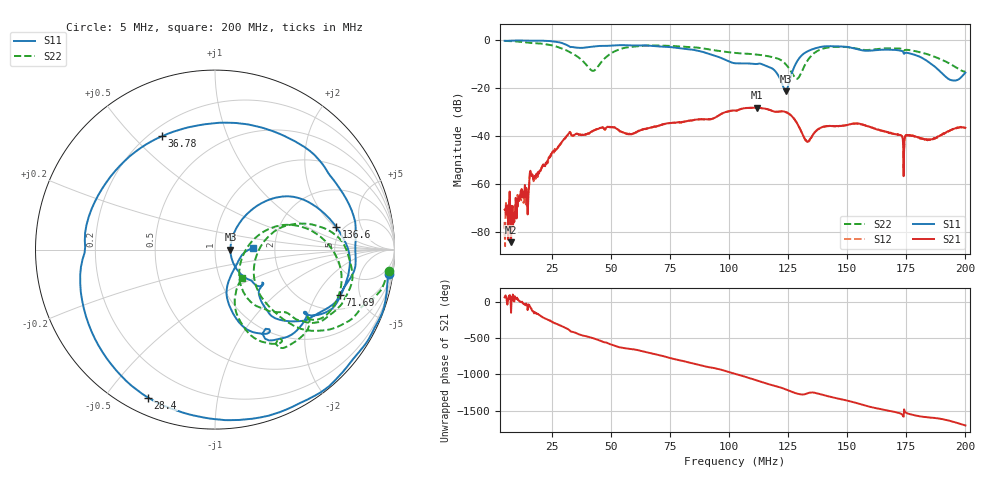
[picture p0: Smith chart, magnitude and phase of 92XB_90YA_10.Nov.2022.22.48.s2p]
!Keysight Technologies N9917A: A.12.46
!Date: Thursday, 10 November 2022 22:49:01
!Timezone: (UTC) Coordinated Universal Time
!Model: N9917A
!Serial: MY56071016
!GPS Latitude:
!GPS Longitude:
!GPS TimeStamp: 0001-01-01 00:00:00Z
!GPS Seconds Since Last Read: 0
!CHECKSUM:1294326159
!Correction: S11(ON U)S21(ON U)S12(ON U)S22(ON U)
!S2P File: Measurements:S11,S21,S12,S22:
# Hz S DB R 50
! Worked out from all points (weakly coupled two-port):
!   1001 points, 5 MHz to 200 MHz, reference 50 ohm
!   highest |S21| = -28.09 dB at 111.7 MHz (marker M1); lowest = -84.2 dB at 7.73 MHz (marker M2)
!   lowest |S11| = -21.3 dB at 124 MHz (marker M3), VSWR 1.19, Z = 59.4 + j0.0141 ohm
!   |S11| at or under -10 dB: 114 MHz to 128.1 MHz (14.06 MHz wide, 11.6 % of centre); 185.8 MHz to end of sweep
!   |S22| runs from -16.1 to -0.2 dB; largest |S21 - S12| = 0.0008
!   S11 on the Smith chart (normalised r, x): 5 MHz: 2, -14; 28.4 MHz: 0.07, -0.64; 36.78 MHz: 0.25, +0.61; 71.69 MHz: 2.88, -3.22; 136.6 MHz: 4.37, +2.08; 200 MHz: 1.54, +0.03
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5000000  -0.18 -8.0  -70.66 63.3  -75.78 -136.5  -0.21 -6.9
7730000  -0.12 -14.5  -84.23 -150.9  -71.25 72.6  -0.33 -10.7
2.021e7  -0.08 -52.7  -54.53 165.3  -54.22 167.9  -1.33 -26.3
2.84e7  -0.87 -114.4  -43.45 36.5  -43.62 36.1  -3.09 -40.2
3.2495e7  -2.62 -175.9  -38.29 -31.9  -38.20 -32.0  -4.85 -44.9
3.6785e7  -3.13 114.9  -39.38 -90.5  -39.27 -91.5  -7.48 -46.4
3.7565e7  -3.14 104.3  -39.43 -99.0  -39.57 -98.5  -8.13 -46.1
4.2635e7  -2.57 57.1  -37.73 -143.9  -37.69 -143.6  -12.69 -10.8
4.9265e7  -2.23 26.1  -36.22 141.7  -36.17 142.0  -5.96 16.8
7.013e7  -2.54 -17.4  -35.59 -12.5  -35.50 -12.4  -2.17 -17.5
7.169e7  -2.62 -20.0  -35.13 -24.7  -35.26 -26.1  -2.21 -19.5
1.025e8  -9.57 -42.3  -29.25 86.6  -29.16 87.8  -5.23 -41.1
1.11665e8  -9.87 -34.8  -28.09 -2.8  -28.19 -2.6  -5.90 -43.3
1.2395e8  -21.30 0.1  -29.90 -126.6  -29.96 -126.7  -9.94 -56.4
1.28825e8  -8.68 44.8  -34.69 174.4  -34.74 174.1  -16.05 -15.7
1.35065e8  -3.77 17.3  -40.04 -169.2  -40.24 -169.1  -6.15 15.2
1.36625e8  -3.25 10.5  -38.04 -176.5  -37.86 -177.3  -4.87 9.0
1.49885e8  -2.72 -26.6  -35.38 79.2  -35.38 79.5  -2.80 -29.2
1.6763e8  -3.86 -44.5  -38.49 -62.9  -38.40 -62.2  -3.30 -43.3
1.8635e8  -10.40 -76.0  -41.07 -159.4  -41.30 -159.6  -6.62 -69.4
1.9415e8  -16.63 -37.2  -37.27 151.2  -37.34 152.1  -10.15 -69.3
2e8  -13.46 2.2  -36.48 95.6  -36.49 95.6  -13.09 -46.3
